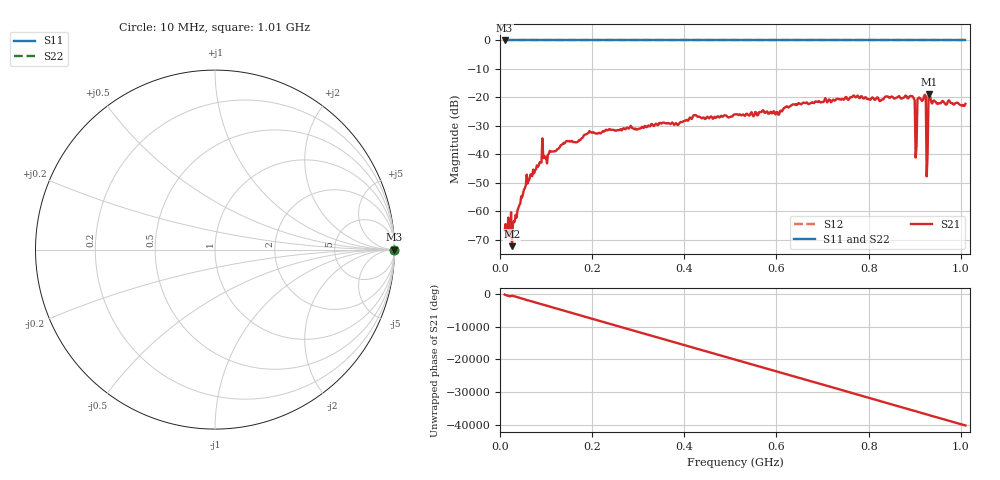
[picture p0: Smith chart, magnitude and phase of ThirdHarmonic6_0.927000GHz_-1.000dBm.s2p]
! 8/16/2025 6:14:57 AM
! C:\ANRITSUVNA\TEMP\TEMP.S2P
! CHANNEL.1
! TR.MEASUREMENT
! RAW.DATA
! RF.CORRECTION.OFF
! AVERAGING.OFF
! IF.BANDWIDTH: 5KHZ
! SWEEPTYPE:  FREQ.SWEEP(Linear)
! Reference Plane Port Info
! PORT:  PORT1  PORT2
! DISTANCE:  0  m  0  m
! TIME:  0  s  0  s
! PHASE.OFFSET:  0  deg.  0  deg.
! LOSS:  0  dB  0  dB
! REF.LOSS:  0  dB  0  dB
! REF.FREQ:  0  Hz  0  Hz
! Power Info
! POWER:  -20  dBm  -20  dBm
! EFF.POWER:  -20  dBm  -20  dBm
! SOURCE.ATTEN:  0  dB  0  dB
! TEST.ATTEN:  0  dB  0  dB
# GHZ S RI R 50.0
! FREQ.GHZ  S11RE  S11IM  S21RE  S21IM  S12RE  S12IM  S22RE  S22IM
!; PortSelection: Port_12
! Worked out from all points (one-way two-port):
!   501 points, 10 MHz to 1.01 GHz, reference 50 ohm
!   highest |S21| = -18.89 dB at 932 MHz (marker M1); lowest = -72.3 dB at 26 MHz (marker M2)
!   lowest |S11| = 0.0 dB at 10 MHz (marker M3)
!   |S11| at or under -10 dB: nowhere
!   |S22| runs from 0.0 to 0.0 dB; largest |S21 - S12| = 1.1
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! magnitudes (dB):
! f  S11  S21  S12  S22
! 10 MHz  0.0  -66.8  0.0  0.0
! 26 MHz  0.0  -72.3  0.0  0.0
! 54 MHz  0.0  -51.9  0.0  0.0
! 92 MHz  0.0  -34.4  0.0  0.0
! 178 MHz  0.0  -34.3  0.0  0.0
! 344 MHz  0.0  -29.6  0.0  0.0
! 510 MHz  0.0  -26.0  0.0  0.0
! 602 MHz  0.0  -25.2  0.0  0.0
! 678 MHz  0.0  -21.7  0.0  0.0
! 844 MHz  0.0  -20.1  0.0  0.0
! 894 MHz  0.0  -19.5  0.0  0.0
! 896 MHz  0.0  -19.8  0.0  0.0
! 900 MHz  0.0  -21.0  0.0  0.0
! 902 MHz  0.0  -41.1  0.0  0.0
! 906 MHz  0.0  -20.7  0.0  0.0
! 910 MHz  0.0  -20.0  0.0  0.0
! 920 MHz  0.0  -19.8  0.0  0.0
! 924 MHz  0.0  -19.6  0.0  0.0
! 930 MHz  0.0  -19.5  0.0  0.0
! 932 MHz  0.0  -18.9  0.0  0.0
! 934 MHz  0.0  -20.0  0.0  0.0
! 1.01 GHz  0.0  -22.3  0.0  0.0
